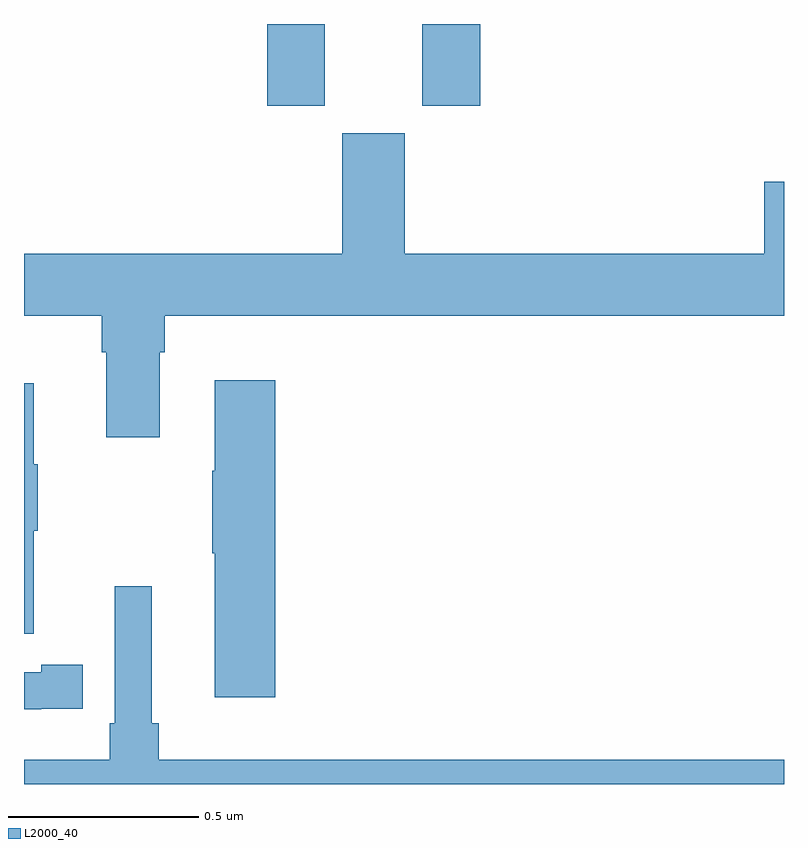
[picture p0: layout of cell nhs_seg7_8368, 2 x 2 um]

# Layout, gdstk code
import gdstk
lib = gdstk.Library(unit=1e-6, precision=1e-09)
def R(c, l, rs):  # rectangles x0, y0, x1, y1
    for r in rs: c.add(gdstk.rectangle(r[:2], r[2:], *l))
def P(c, l, *ps):  # polygons
    for p in ps: c.add(gdstk.Polygon(p, *l))
L2000_40 = (2000, 40)

nhs_seg7_8368 = lib.new_cell('nhs_seg7_8368')
R(nhs_seg7_8368, L2000_40, [(223.64,1051.785,223.792,1052), (224.048,1051.785,224.201,1052)])
P(nhs_seg7_8368, L2000_40, [(223.357,1051.136),(223.37,1051.136),(223.37,1051.232),(225,1051.232),(225,1051.585),(224.948,1051.585),(224.948,1051.396),(224.002,1051.396),(224.002,1051.713),(223.838,1051.713),(223.838,1051.396),(223,1051.396),(223,1051.232),(223.205,1051.232),(223.205,1051.136),(223.217,1051.136),(223.217,1050.912),(223.357,1050.912)],
  [(223.661,1051.063),(223.502,1051.063),(223.502,1050.824),(223.495,1050.824),(223.495,1050.607),(223.502,1050.607),(223.502,1050.228),(223.661,1050.228)],
  [(223.025,1050.667),(223.036,1050.667),(223.036,1050.841),(223.025,1050.841),(223.025,1051.054),(223,1051.054),(223,1050.396),(223.025,1050.396)],
  [(225,1050.064),(223.355,1050.064),(223.355,1050.16),(223.336,1050.16),(223.336,1050.52),(223.239,1050.52),(223.239,1050.16),(223.226,1050.16),(223.226,1050.064),(223,1050.064),(223,1050),(225,1050)],
  [(223.046,1050.198),(223.154,1050.198),(223.154,1050.314),(223.046,1050.314),(223.046,1050.294),(223,1050.294),(223,1050.197),(223.046,1050.197)])

lib.write_gds('nhs_seg7_8368.gds')
